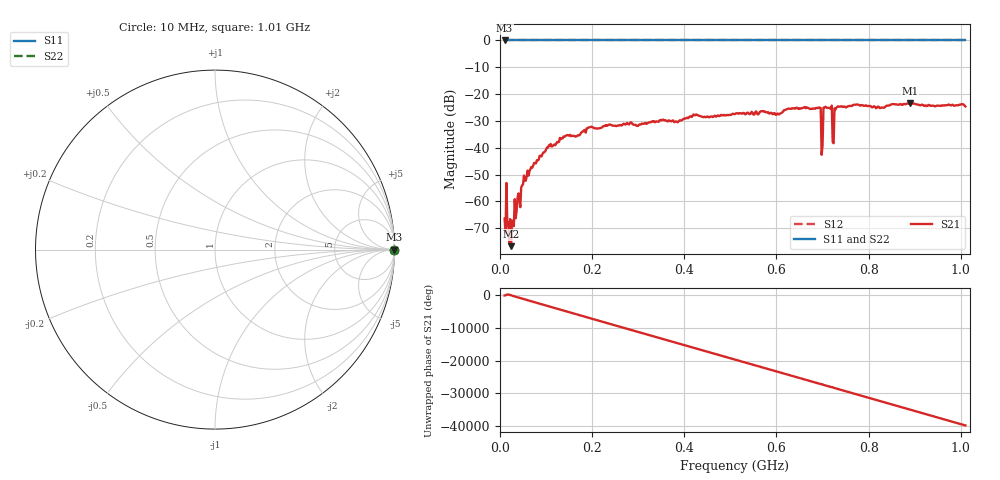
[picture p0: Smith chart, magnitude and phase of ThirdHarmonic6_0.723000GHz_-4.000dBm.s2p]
! 8/16/2025 12:10:15 AM
! C:\ANRITSUVNA\TEMP\TEMP.S2P
! CHANNEL.1
! TR.MEASUREMENT
! RAW.DATA
! RF.CORRECTION.OFF
! AVERAGING.OFF
! IF.BANDWIDTH: 5KHZ
! SWEEPTYPE:  FREQ.SWEEP(Linear)
! Reference Plane Port Info
! PORT:  PORT1  PORT2
! DISTANCE:  0  m  0  m
! TIME:  0  s  0  s
! PHASE.OFFSET:  0  deg.  0  deg.
! LOSS:  0  dB  0  dB
! REF.LOSS:  0  dB  0  dB
! REF.FREQ:  0  Hz  0  Hz
! Power Info
! POWER:  -20  dBm  -20  dBm
! EFF.POWER:  -20  dBm  -20  dBm
! SOURCE.ATTEN:  0  dB  0  dB
! TEST.ATTEN:  0  dB  0  dB
# GHZ S RI R 50.0
! FREQ.GHZ  S11RE  S11IM  S21RE  S21IM  S12RE  S12IM  S22RE  S22IM
!; PortSelection: Port_12
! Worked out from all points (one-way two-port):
!   501 points, 10 MHz to 1.01 GHz, reference 50 ohm
!   highest |S21| = -23.41 dB at 890 MHz (marker M1); lowest = -76.7 dB at 24 MHz (marker M2)
!   lowest |S11| = 0.0 dB at 10 MHz (marker M3)
!   |S11| at or under -10 dB: nowhere
!   |S22| runs from 0.0 to 0.0 dB; largest |S21 - S12| = 1.1
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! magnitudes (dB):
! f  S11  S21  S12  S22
! 10 MHz  0.0  -66.4  0.0  0.0
! 20 MHz  0.0  -75.3  0.0  0.0
! 24 MHz  0.0  -76.7  0.0  0.0
! 50 MHz  0.0  -53.6  0.0  0.0
! 70 MHz  0.0  -47.4  0.0  0.0
! 106 MHz  0.0  -39.1  0.0  0.0
! 178 MHz  0.0  -34.1  0.0  0.0
! 344 MHz  0.0  -30.3  0.0  0.0
! 510 MHz  0.0  -27.4  0.0  0.0
! 678 MHz  0.0  -25.5  0.0  0.0
! 692 MHz  0.0  -25.0  0.0  0.0
! 696 MHz  0.0  -25.2  0.0  0.0
! 700 MHz  0.0  -39.2  0.0  0.0
! 706 MHz  0.0  -24.7  0.0  0.0
! 716 MHz  0.0  -25.3  0.0  0.0
! 720 MHz  0.0  -24.3  0.0  0.0
! 726 MHz  0.0  -25.3  0.0  0.0
! 730 MHz  0.0  -25.1  0.0  0.0
! 734 MHz  0.0  -24.5  0.0  0.0
! 844 MHz  0.0  -24.3  0.0  0.0
! 890 MHz  0.0  -23.4  0.0  0.0
! 1.01 GHz  0.0  -24.6  0.0  0.0
